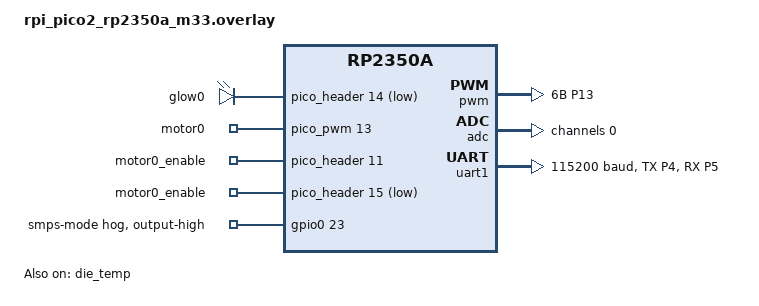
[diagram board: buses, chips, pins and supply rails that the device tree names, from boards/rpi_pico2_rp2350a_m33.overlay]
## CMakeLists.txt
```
# SPDX-License-Identifier: GPL-2.0-or-later
cmake_minimum_required(VERSION 3.20.0)

# Add fusain module to EXTRA_ZEPHYR_MODULES
list(APPEND EXTRA_ZEPHYR_MODULES ${CMAKE_CURRENT_SOURCE_DIR}/../../modules/lib/fusain)

find_package(Zephyr REQUIRED HINTS $ENV{ZEPHYR_BASE})
project(helios)

# Helios sources
FILE(GLOB_RECURSE app_sources src/*.c)
target_sources(app PRIVATE ${app_sources})
target_include_directories(app PRIVATE include)
```

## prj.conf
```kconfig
# SPDX-License-Identifier: GPL-2.0-or-later

# Hardware
CONFIG_FPU=y
CONFIG_FP_HARDABI=y
CONFIG_PWM=y
CONFIG_ADC=y
CONFIG_SENSOR=y
CONFIG_SERIAL=y
CONFIG_UART_INTERRUPT_DRIVEN=y

# Shell
CONFIG_SHELL=y
CONFIG_ADC_SHELL=y
CONFIG_SENSOR_SHELL=y
CONFIG_LOG_CMDS=y

# Reboot Command (non-default delay)
CONFIG_REBOOT=y
CONFIG_KERNEL_SHELL_REBOOT_DELAY=250

# State machine framework
CONFIG_SMF=y

# Logging
CONFIG_LOG=y
CONFIG_SHELL_LOG_BACKEND=y
CONFIG_LOG_RUNTIME_FILTERING=y
CONFIG_LOG_DEFAULT_LEVEL=3
CONFIG_LOG_BUFFER_SIZE=4096

# zbus
CONFIG_ZBUS=y
CONFIG_ZBUS_CHANNEL_NAME=y
CONFIG_ZBUS_OBSERVER_NAME=y
CONFIG_ZBUS_MSG_SUBSCRIBER=y
CONFIG_HEAP_MEM_POOL_SIZE=4096
CONFIG_ZBUS_MSG_SUBSCRIBER_NET_BUF_POOL_SIZE=64

# CRC for serial protocol
CONFIG_CRC=y

CONFIG_SERIAL=y
CONFIG_UART_INTERRUPT_DRIVEN=y

# Fusain Serial Protocol Library
CONFIG_FUSAIN=y

# Hardware info (device ID)
CONFIG_HWINFO=y
CONFIG_HWINFO_RPI_PICO_CHIP_ID=y

# Random number generator (fallback for device ID)
CONFIG_TEST_RANDOM_GENERATOR=y

# Thread analyzer (stack usage debugging)
CONFIG_THREAD_ANALYZER=y
CONFIG_THREAD_ANALYZER_AUTO=y
CONFIG_THREAD_ANALYZER_AUTO_INTERVAL=30
CONFIG_THREAD_ANALYZER_USE_PRINTK=y
```

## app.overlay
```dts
// SPDX-License-Identifier: GPL-2.0-or-later

/ {
  aliases {
    helios-glow0 = &glow0;
    helios-pump0 = &pump0;
    helios-tach0 = &motor0_rpm;
    helios-motor0 = &motor0;
    helios-enable-motor0 = &motor0_enable;
  };
};
```

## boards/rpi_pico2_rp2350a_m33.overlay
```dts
/*
 * SPDX-License-Identifier: GPL-2.0-or-later
 */

/* Add reverse compatability with Pico */
pico_spi: &spi0 {};
pico_pwm: &pwm {};
pico_adc: &adc {};
pico_i2c0: &i2c0 {};
pico_i2c1: &i2c1 {};
pico_uart1: &uart1 {};

/* Set GP23 high to put RT6150 regulator into low-ripple PWM mode */
&gpio0 {
  smps-mode {
    gpio-hog;
    gpios = <23 GPIO_ACTIVE_HIGH>;
    output-high;
  };
};

&pinctrl {
  pwm_ch6b_default: pwm_ch6b_default {
    group1 {
      pinmux = <PWM_6B_P13>;
    };
  };

  uart1_default: uart1_default {
    group1 {
      pinmux = <UART1_TX_P4>;
    };
    group2 {
      pinmux = <UART1_RX_P5>;
      input-enable;
    };
  };
};

&die_temp {
	status = "okay";
};

&pico_adc {
	#address-cells = <1>;
	#size-cells = <0>;

	channel@0 {
		reg = <0>;
		zephyr,gain = "ADC_GAIN_1";
		zephyr,reference = "ADC_REF_INTERNAL";
		zephyr,acquisition-time = <ADC_ACQ_TIME_DEFAULT>;
		zephyr,resolution = <12>;
	};
};

&pico_pwm {
  status = "okay";
  pinctrl-0 = <&pwm_ch6b_default>;
  divider-frac-6 = <15>;
	divider-int-6 = <255>;
};

&pico_uart1 {
  status = "okay";
  current-speed = <115200>;
  pinctrl-0 = <&uart1_default>;
  pinctrl-names = "default";
};

/ {
  aliases {
    helios-glow0 = &glow0;
    helios-pump0 = &pump0;
    helios-tach0 = &motor0_tach;
    helios-motor0 = &motor0;
    helios-enable-motor0 = &motor0_enable;
    helios-temp0 = &core_temp;
    helios-uart = &pico_uart1;
  };

  glow_plugs {
    compatible = "gpio-leds";
    status = "okay";
    glow0: glow0_pin {
      gpios = <&pico_header 14 (GPIO_PULL_UP | GPIO_ACTIVE_LOW)>;
      label = "glow0";
    };
  };

  thermistors {
    core_temp: ntc0 {
      status = "okay";
      compatible = "ntc-thermistor-generic";
      io-channels = <&pico_adc 0>;
      pulldown-ohm = <10000>;
      pullup-ohm = <0>;
      connected-positive;
      label = "core_temp";
      zephyr,compensation-table = <(-5) 183150>,
                <(0) 142470>,
                <(5) 111645>,
                <(15) 70020>,
                <(25) 45000>,
                <(35) 36405>,
                <(45) 19922>,
                <(55) 13662>,
                <(65) 9549>,
                <(75) 6795>,
                <(85) 4910>,
                <(95) 3603>,
                <(105) 2682>,
                <(115) 2022>,
                <(125) 1539>,
                <(135) 1192>,
                <(145) 931>,
                <(250) 500>;
    };
  };

  motors {
		compatible = "pwm-leds";
    status = "okay";
		motor0: motor0_ch {
			pwms = <&pico_pwm 13 PWM_USEC(50) PWM_POLARITY_NORMAL>;
			label = "motor0";
		};
  };

  motor_enablers {
    compatible = "gpio-leds";
    status = "okay";
    motor0_enable: motor0_enable_pin {
      gpios = <&pico_header 11 (GPIO_PULL_DOWN | GPIO_ACTIVE_HIGH)>;
      label = "motor0_enable";
    };
  };

  pumps {
    compatible = "gpio-leds";
    status = "okay";
    pump0: pump0_pin {
      gpios = <&pico_header 15 (GPIO_PULL_UP | GPIO_ACTIVE_LOW)>;
      label = "motor0_enable";
    };
  };


  tachs {
    motor0_tach: motor0 {
      compatible = "zephyr,tach-gpio";
      status = "okay";
      gpios = <&pico_header 12 (GPIO_PULL_UP | GPIO_ACTIVE_LOW)>;
      label = "motor0_rpm";
      pulses-per-round = <1>;
      /* starts motor faster, but limits RPM readings to 1000 and above */
      timeout-ms = <150>;
    };
  };
};
```

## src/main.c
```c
// SPDX-License-Identifier: GPL-2.0-or-later
#include <zephyr/kernel.h>
#include <zephyr/logging/log.h>

#include <helios/communications/fusain.h>
#include <helios/shell.h>
#include <helios/threads.h>

LOG_MODULE_REGISTER(main, LOG_LEVEL_INF);

SHELL_CMD_ARG_REGISTER(helios, &sub_helios, "Operate the burner", cmd_helios, 1,
    0);

K_THREAD_DEFINE(glow_controller_id, CONFIG_MAIN_STACK_SIZE, glow_controller,
    NULL, NULL, NULL, -1, 0, 0);

K_THREAD_DEFINE(pump_controller_id, CONFIG_MAIN_STACK_SIZE, pump_controller,
    NULL, NULL, NULL, -1, 0, 0);

K_THREAD_DEFINE(motor_controller_id, CONFIG_MAIN_STACK_SIZE, motor_controller,
    NULL, NULL, NULL, -1, 0, 0);

K_THREAD_DEFINE(thermometer_controller_id, CONFIG_MAIN_STACK_SIZE * 2,
    thermometer_controller, NULL, NULL, NULL, -1, 0, 0);

K_THREAD_DEFINE(helios_state_id, CONFIG_MAIN_STACK_SIZE, helios_state_runner,
    NULL, NULL, NULL, 4, 0, 0); // State machine - important but below serial

K_THREAD_DEFINE(serial_rx_id, CONFIG_MAIN_STACK_SIZE * 2, serial_rx_thread, NULL, NULL, NULL, -2, 0, 0); // RX: Highest priority - time-critical UART RX polling
K_THREAD_DEFINE(serial_tx_id, CONFIG_MAIN_STACK_SIZE, serial_tx_thread, NULL, NULL, NULL, 0, 0, 0);  // TX: Priority 0 - UART TX polling and queue processing
K_THREAD_DEFINE(serial_processing_id, CONFIG_MAIN_STACK_SIZE * 4, serial_processing_thread, NULL, NULL, NULL, 1, 0, 0); // Processing: Larger stack for CBOR encoding

int main(void)
{
  LOG_INF("Helios ICU starting...");
  return 0;
}
```

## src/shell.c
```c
// SPDX-License-Identifier: GPL-2.0-or-later

#include <stdlib.h>
#include <string.h>
#include <sys/_intsup.h>
#include <sys/errno.h>
#include <zephyr/kernel.h>
#include <zephyr/logging/log.h>
#include <zephyr/shell/shell.h>

#include <helios/communications/fusain.h>
#include <helios/zbus.h>

//////////////////////////////////////////////////////////////
// Config
//////////////////////////////////////////////////////////////

LOG_MODULE_REGISTER(helios_shell);

#define PUB_TIMEOUT K_SECONDS(1U)

// State names for display
static const char* const fusain_state_names[] = {
  "INIT",    // FUSAIN_STATE_INITIALIZING
  "IDLE",    // FUSAIN_STATE_IDLE
  "BLOWING", // FUSAIN_STATE_BLOWING
  "PREHEAT", // FUSAIN_STATE_PREHEAT
  "PRE_ST2", // FUSAIN_STATE_PREHEAT_STAGE_2
  "HEATING", // FUSAIN_STATE_HEATING
  "COOLING", // FUSAIN_STATE_COOLING
  "ERROR",   // FUSAIN_STATE_ERROR
  "E_STOP",  // FUSAIN_STATE_E_STOP
};

// Mode names for display
static const char* const fusain_mode_names[] = {
  "IDLE",      // FUSAIN_MODE_IDLE
  "FAN",       // FUSAIN_MODE_FAN
  "HEAT",      // FUSAIN_MODE_HEAT
  [255] = "EMERGENCY", // FUSAIN_MODE_EMERGENCY
};

//////////////////////////////////////////////////////////////
// Helper functions
//////////////////////////////////////////////////////////////

int send_state_command(const struct shell* sh, struct state_command_msg* cmd)
{
  int res = zbus_chan_pub(&state_command_chan, cmd, PUB_TIMEOUT);
  if (res != 0) {
    if (res == -ENOMSG) {
      shell_print(sh, "invalid state command");
    } else {
      LOG_WRN("got zbus error: %d", res);
      shell_print(sh, "Unable to send state command to Helios");
    }
  }
  shell_print(sh, "sent state %s command %d", fusain_mode_names[cmd->mode], cmd->argument);
  return res;
}

//////////////////////////////////////////////////////////////
// Shell functions
//////////////////////////////////////////////////////////////

int cmd_helios(const struct shell* sh, size_t argc, char** argv)
{
  ARG_UNUSED(argc);
  ARG_UNUSED(argv);

  shell_print(sh, "Helios awaits your command");
  return 0;
}

int cmd_fake_temp(const struct shell* sh, size_t argc, char** argv)
{
  if (argc != 3) {
    shell_print(sh, "wrong number of args");
    return 1;
  }

  const int i = atoi(argv[1]);
  const double current_temperature = atof(argv[2]);
  const unsigned current_micros = k_cyc_to_us_floor64(k_cycle_get_64());

  struct temperature_data_msg msg = { .thermometer = i,
    .reading = current_temperature,
    .timestamp = current_micros };
  int res = zbus_chan_pub(&temperature_data_chan, &msg, PUB_TIMEOUT);
  if (res != 0) {
    if (res == -ENOMSG) {
      shell_print(sh, "invalid state command");
    } else {
      LOG_WRN("got zbus error: %d", res);
      shell_print(sh, "Unable to send fake data to Helios");
    }
  }
  shell_print(sh, "sending fake data for temperature for temp %d, %f", i,
      current_temperature);
  return res;
}

int cmd_get_state(const struct shell* sh, size_t argc, char** argv)
{
  struct state_data_msg msg;
  int ret;
  ret = zbus_chan_read(&state_data_chan, &msg, PUB_TIMEOUT);
  if (ret == 0) {
    shell_print(sh, "%d - %s", msg.state, fusain_state_names[msg.state]);
  } else {
    shell_print(sh, "Unable to get Helios state");
  }
  return ret;
}

int cmd_set_idle(const struct shell* sh, size_t argc, char** argv)
{
  struct state_command_msg cmd;
  cmd.mode = FUSAIN_MODE_IDLE;
  return send_state_command(sh, &cmd);
}

int cmd_set_fan(const struct shell* sh, size_t argc, char** argv)
{
  struct state_command_msg cmd;
  cmd.mode = FUSAIN_MODE_FAN;
  const int arg = atoi(argv[1]);
  cmd.argument = arg;
  return send_state_command(sh, &cmd);
}

int cmd_set_heat(const struct shell* sh, size_t argc, char** argv)
{
  struct state_command_msg cmd;
  cmd.mode = FUSAIN_MODE_HEAT;
  const int arg = atoi(argv[1]);
  cmd.argument = arg;
  return send_state_command(sh, &cmd);
}

int cmd_set_rpm(const struct shell* sh, size_t argc, char** argv)
{
  if (argc != 3) {
    shell_print(sh, "wrong number of args");
    return 1;
  }
  const int motor_index = atoi(argv[1]);
  const int rpm = atoi(argv[2]);
  struct motor_command_msg msg = { .motor = motor_index, .rpm = rpm };
  zbus_chan_pub(&motor_command_chan, &msg, PUB_TIMEOUT);
  return 0;
}

int cmd_set_pump_rate(const struct shell* sh, size_t argc, char** argv)
{
  if (argc != 3) {
    shell_print(sh, "wrong number of args");
    return 1;
  }
  const int pump_index = atoi(argv[1]);
  const int rate_ms = atoi(argv[2]);
  struct pump_command_msg msg = { .pump = pump_index, .rate_ms = rate_ms };
  zbus_chan_pub(&pump_command_chan, &msg, PUB_TIMEOUT);
  return 0;
}

int cmd_set_glow_burn(const struct shell* sh, size_t argc, char** argv)
{
  if (argc != 3) {
    shell_print(sh, "wrong number of args");
    return 1;
  }
  const int glow_index = atoi(argv[1]);
  const int burn_length = atoi(argv[2]);
  struct glow_command_msg msg = { .glow = glow_index, .duration = burn_length };
  zbus_chan_pub(&glow_command_chan, &msg, PUB_TIMEOUT);
  return 0;
}

int cmd_serial_timeout(const struct shell* sh, size_t argc, char** argv)
{
  ARG_UNUSED(argc);
  ARG_UNUSED(argv);

  // Display current timeout configuration
  bool enabled;
  uint32_t timeout_ms;
  serial_get_timeout_config(&enabled, &timeout_ms);

  shell_print(sh, "Serial Timeout Configuration:");
  shell_print(sh, "  Status: %s", enabled ? "ENABLED" : "DISABLED");
  shell_print(sh, "  Interval: %u ms (%u seconds)", timeout_ms,
      timeout_ms / 1000);

  if (enabled) {
    shell_print(sh, "");
    shell_print(sh,
        "Timeout will trigger IDLE transition if no PING received");
    shell_print(sh, "Recommended master ping interval: 10-15 seconds");
  }

  return 0;
}

int cmd_serial_timeout_enable(const struct shell* sh, size_t argc, char** argv)
{
  ARG_UNUSED(argc);
  ARG_UNUSED(argv);

  serial_set_timeout_enabled(true);
  shell_print(sh, "Serial timeout ENABLED");
  return 0;
}

int cmd_serial_timeout_disable(const struct shell* sh, size_t argc, char** argv)
{
  ARG_UNUSED(argc);
  ARG_UNUSED(argv);

  serial_set_timeout_enabled(false);
  shell_print(sh, "Serial timeout DISABLED");
  return 0;
}
```
